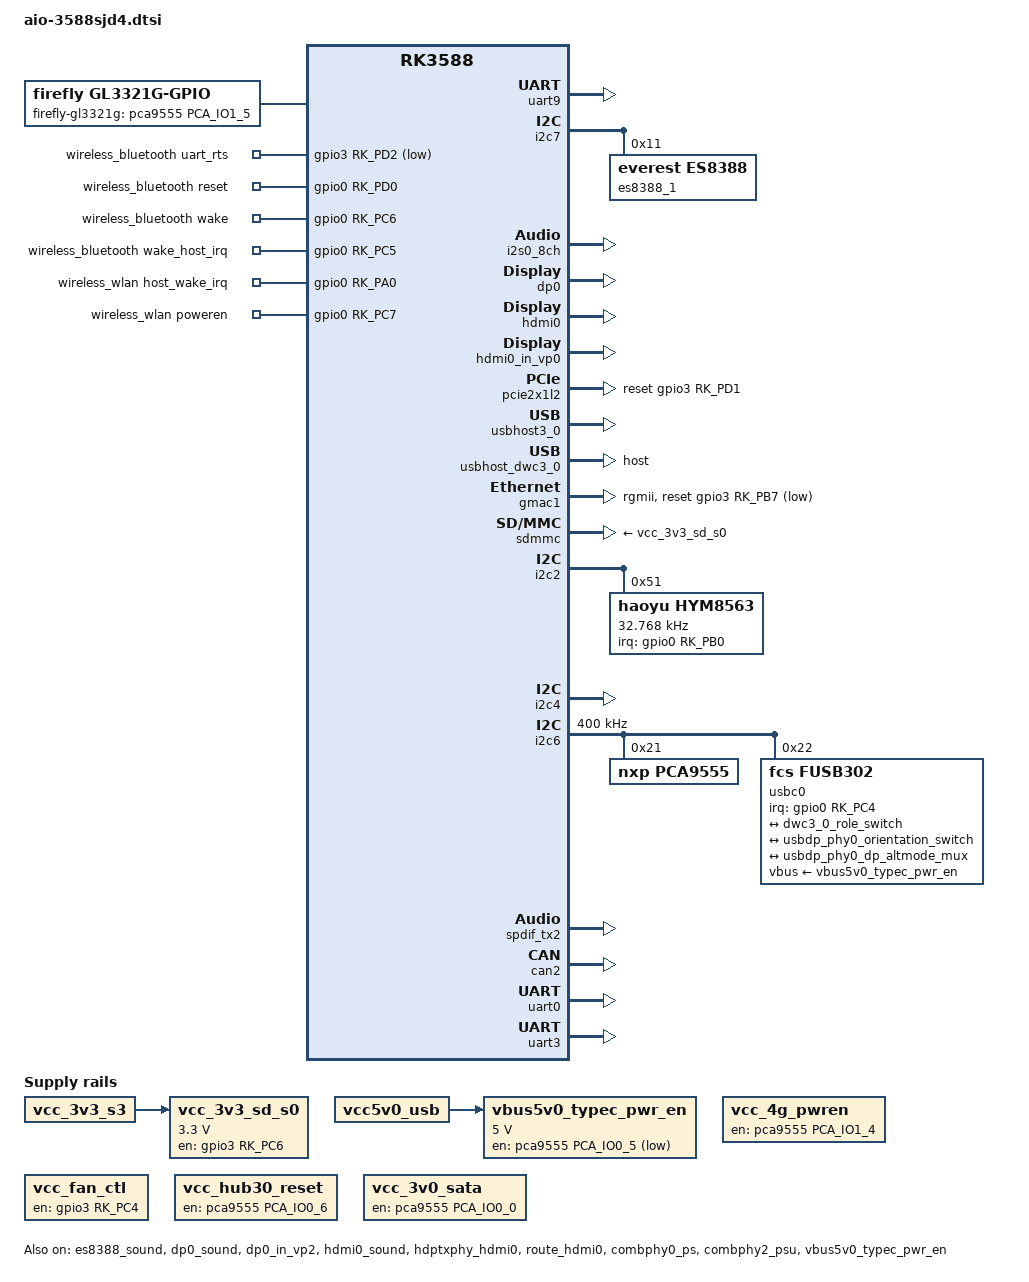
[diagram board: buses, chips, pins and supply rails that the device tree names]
// SPDX-License-Identifier: (GPL-2.0+ OR MIT)
/*
 * Copyright (c) 2021 T-chip Firefly Electronics Co., Ltd.
 *
 */

#include "rk3588-firefly-port.dtsi"

/ {
	chosen: chosen {
		bootargs = "earlycon=uart8250,mmio32,0xfeb50000 console=ttyFIQ0 irqchip.gicv3_pseudo_nmi=0 root=PARTLABEL=rootfs rootfstype=ext4 ro rootwait overlayroot=device:dev=PARTLABEL=userdata,fstype=ext4,mkfs=1 coherent_pool=1m systemd.gpt_auto=0 cgroup_enable=memory swapaccount=1 net.ifnames=0";
	};
	firefly_leds: leds {
		power_led: power {
			gpios = <&gpio1 RK_PD2 GPIO_ACTIVE_HIGH>;//blue led
			pinctrl-names = "default";
			pinctrl-0 = <&led_power>;
		};

		user_led: user {
			gpios = <&gpio1 RK_PD5 GPIO_ACTIVE_HIGH>;//red led
			pinctrl-names = "default";
			pinctrl-0 = <&led_user>;
		};
	};

        vcc_4g_pwren: vcc-4g-pwren-regulator {
                compatible = "regulator-fixed";
                regulator-name = "vcc_4g_pwren";
                regulator-always-on;
                enable-active-high;
                status = "okay";
                gpio = <&pca9555 PCA_IO1_4 GPIO_ACTIVE_HIGH>;
        };

        vcc_fan_ctl: vcc-fan-ctl-regulator {
                compatible = "regulator-fixed";
                regulator-name = "vcc_fan_ctl";
                regulator-always-on;
                enable-active-high;
                status = "okay";
                gpio = <&gpio3 RK_PC4 GPIO_ACTIVE_HIGH>;
        };

	vcc_3v3_sd_s0: vcc-3v3-sd-s0 {
		compatible = "regulator-fixed";
		regulator-name = "vcc_3v3_sd_s0";
		regulator-min-microvolt = <3300000>;
		regulator-max-microvolt = <3300000>;
		gpios = <&gpio3 RK_PC6 GPIO_ACTIVE_HIGH>;
		enable-active-high;
		vin-supply = <&vcc_3v3_s3>;
			regulator-state-mem {
			regulator-off-in-suspend;
		};
	};

        vcc_hub30_reset: vcc-hub30-reset-regulator {
                compatible = "regulator-fixed";
                regulator-name = "vcc_hub30_reset";
                regulator-boot-on;
                regulator-always-on;
                enable-active-high;
                gpio = <&pca9555 PCA_IO0_6 GPIO_ACTIVE_HIGH>;  //PCA_IO 06
        };

    vcc_3v0_sata: vcc-3v0-sata-regulator {
        compatible = "regulator-fixed";
        regulator-name = "vcc_3v0_sata";
        regulator-always-on;
        enable-active-high;
        status = "okay";
        gpio = <&pca9555 PCA_IO0_0 GPIO_ACTIVE_HIGH>;
    };


    gl3321g: gl3321g-pwr-gpio {
        compatible = "firefly,gl3321g-gpio";
        firefly-mdelay = <500>;
        firefly-gl3321g-gpio = <&pca9555 PCA_IO1_5 GPIO_ACTIVE_HIGH>;
        status = "okay";
    };


        wireless_bluetooth: wireless-bluetooth {
                compatible = "bluetooth-platdata";
                clocks = <&hym8563>;
                clock-names = "ext_clock";
                uart_rts_gpios = <&gpio3 RK_PD2 GPIO_ACTIVE_LOW>;
                pinctrl-names = "default", "rts_gpio";
                pinctrl-0 = <&uart9m2_rtsn>,  <&bt_reset_gpio>, <&bt_wake_gpio>, <&bt_irq_gpio>;
                pinctrl-1 = <&uart9_gpios>;
                BT,reset_gpio    = <&gpio0 RK_PD0 GPIO_ACTIVE_HIGH>;
                BT,wake_gpio     = <&gpio0 RK_PC6 GPIO_ACTIVE_HIGH>;
                BT,wake_host_irq = <&gpio0 RK_PC5 GPIO_ACTIVE_HIGH>;
                status = "okay";
        };

        wireless_wlan: wireless-wlan {
                compatible = "wlan-platdata";
                wifi_chip_type = "ap6275p";
                pinctrl-names = "default";
                pinctrl-0 = <&wifi_host_wake_irq>, <&wifi_poweren_gpio>;
                WIFI,host_wake_irq = <&gpio0 RK_PA0 GPIO_ACTIVE_HIGH>;
                WIFI,poweren_gpio = <&gpio0 RK_PC7 GPIO_ACTIVE_HIGH>;
                status = "okay";
        };

	firefly_wake {
		compatible = "firefly-wake";
		status = "disabled";
	};
};

&uart9 {
        pinctrl-names = "default";
        pinctrl-0 = <&uart9m2_xfer &uart9m2_ctsn>;
        status = "okay";
};

&vcc_3v3_s3 {
        regulator-state-mem {
                regulator-off-in-suspend;
        };
};

&vcc_1v8_s0 {
        regulator-state-mem {
                regulator-off-in-suspend;
        };

};


/* es8323 audio codec */
&es8388_sound {
	status = "okay";
	compatible = "firefly,multicodecs-card";
	rockchip,card-name = "rockchip-es8388";
	hp-det-gpio = <&gpio1 RK_PC0 GPIO_ACTIVE_LOW>;
	hp-con-gpio = <&gpio3 RK_PC0 GPIO_ACTIVE_HIGH>;
	io-channels = <&saradc 4>;
	io-channel-names = "adc-detect";
	spk-con-gpio = <&gpio4 RK_PA0 GPIO_ACTIVE_HIGH>;
	rockchip,cpu = <&i2s0_8ch>;
	rockchip,codec = <&es8388_1>;
	rockchip,audio-routing =
			"Headphone", "LOUT1",
			"Headphone", "ROUT1",
			"Speaker", "LOUT2",
			"Speaker", "ROUT2",
			"Headphone", "Headphone Power",
			"Headphone", "Headphone Power",
	                "Speaker", "Speaker Power",
	                "Speaker", "Speaker Power",
			"LINPUT1", "Main Mic",
			"RINPUT1", "Main Mic",
			"LINPUT2", "Headset Mic",
			"RINPUT2", "Headset Mic";
	linein-type = <2>;
	pinctrl-names = "default";
	pinctrl-0 = <&hp_det>;
	hw-ver =<0x0>;
};

&i2c7 {
        status = "okay";
        pinctrl-names = "default";
        pinctrl-0 = <&i2c7m0_xfer>;
        es8388_1: es8388_1@11 {
		status = "okay";
                #sound-dai-cells = <0>;
                compatible = "everest,es8388", "everest,es8323";
                reg = <0x11>;
                clocks = <&mclkout_i2s0>;
                clock-names = "mclk";
                assigned-clocks = <&mclkout_i2s0>;
                assigned-clock-rates = <12288000>;
                pinctrl-names = "default";
                pinctrl-0 = <&i2s0_mclk>;
        };
};

&i2s0_8ch{
	status = "okay";
};

/* display port0 */
&dp0_sound{
		status = "okay";
};

&dp0 {
	status = "okay";
};

&dp0_in_vp2 {
	status = "okay";
};

/* hdmi0 */
&hdmi0 {
	enable-gpios = <&gpio4 RK_PB6 GPIO_ACTIVE_HIGH>;
	status = "okay";
};

&hdmi0_in_vp0 {
	status = "okay";
};

&hdmi0_sound {
	status = "okay";
};

&hdptxphy_hdmi0 {
	status = "okay";
};

&route_hdmi0{
	status = "okay";
};

&display_subsystem {
	clocks = <&hdptxphy_hdmi_clk0>;
	clock-names = "hdmi0_phy_pll";
};

&hdptxphy_hdmi_clk0 {
	status = "okay";
};

/* pcie2.0 */
&combphy0_ps {
	status = "okay";
};

&pcie2x1l2 {
	reset-gpios = <&gpio3 RK_PD1 GPIO_ACTIVE_HIGH>;
	rockchip,skip-scan-in-resume;
	status = "okay";
};

/* usb3.0 */
&combphy2_psu {
	status = "okay";
};

&usbhost3_0 {
	status = "okay";
};

&usbhost_dwc3_0 {
	status = "okay";
	dr_mode = "host";
};

&usbdrd_dwc3_0 {
	snps,parkmode-disable-ss-quirk;
};

&vcc5v0_host {
	status = "okay";
 	/delete-property/ regulator-boot-on;
	gpio = <&pca9555 PCA_IO0_1 GPIO_ACTIVE_HIGH>;
	/delete-property/ pinctrl-names;
	/delete-property/ pinctrl-0;
};

/* usb2.0 hub */
&vcc_hub_reset {
	status = "okay";
	gpio = <&pca9555 PCA_IO0_7 GPIO_ACTIVE_HIGH>;
};


/* typec0 */
&vbus5v0_typec_pwr_en {
		status = "okay";
		regulator-min-microvolt = <5000000>;
		regulator-max-microvolt = <5000000>;
		gpio = <&pca9555 PCA_IO0_5 GPIO_ACTIVE_HIGH>;

		vin-supply = <&vcc5v0_usb>;
		/delete-property/ pinctrl-names;
		/delete-property/ pinctrl-0;
};

&gmac1{
 	snps,reset-gpio = <&gpio3 RK_PB7 GPIO_ACTIVE_LOW>;
	phy-mode = "rgmii";
	tx_delay = <0x3B>;
	rx_delay = <0x32>;
	status = "okay";
};

/* PMIC spi2 */
&spi2 {
	pinctrl-names = "default";
	pinctrl-0 = <&spi2m2_cs0 &spi2m2_pins>;
	num-cs = <1>;
};

&sdmmc {
	status = "okay";
	vmmc-supply = <&vcc_3v3_sd_s0>;
};

&i2c2 {
	status = "okay";
	pinctrl-names = "default";
	pinctrl-0 = <&i2c2m0_xfer>;

	hym8563: hym8563@51 {
		compatible = "haoyu,hym8563";
		reg = <0x51>;
		#clock-cells = <0>;
		clock-frequency = <32768>;
		clock-output-names = "hym8563";
		pinctrl-names = "default";
		pinctrl-0 = <&hym8563_int>;
		interrupt-parent = <&gpio0>;
		interrupts = <RK_PB0 IRQ_TYPE_LEVEL_LOW>;
		wakeup-source;
		status = "okay";
	};
};

&i2c4 {
	status = "okay";
	pinctrl-names = "default";
	pinctrl-0 = <&i2c4m3_xfer>;
};

&i2c6 {
	status = "okay";
	clock-frequency = <400000>;
   	pinctrl-names = "default";
	pinctrl-0 = <&i2c6m3_xfer>;

	pca9555: gpio@21 {
		status = "okay";
		compatible = "nxp,pca9555";
		//suspend-io-state = <0xc0>;
		//resume-io-state = <0x38c3>;
		//hold-io-state = <0x1000>;
		reg = <0x21>;
		gpio-controller;
		#gpio-cells = <2>;
		gpio-group-num = <200>;
       };


	usbc0: fusb302@22 {
		compatible = "fcs,fusb302";
		reg = <0x22>;
		interrupt-parent = <&gpio0>;
		interrupts = <RK_PC4 IRQ_TYPE_LEVEL_LOW>;
		pinctrl-names = "default";
		pinctrl-0 = <&usbc0_int>;
		vbus-supply = <&vbus5v0_typec_pwr_en>;
		suspend-disable-irq;
		status = "okay";

		ports {
			#address-cells = <1>;
			#size-cells = <0>;

			port@0 {
				reg = <0>;
				usbc0_role_sw: endpoint@0 {
					remote-endpoint = <&dwc3_0_role_switch>;
				};
			};
		};

		usb_con: connector {
			compatible = "usb-c-connector";
			label = "USB-C";
			data-role = "dual";
			power-role = "dual";
			try-power-role = "sink";
			op-sink-microwatt = <1000000>;
			sink-pdos =
				<PDO_FIXED(5000, 1000, PDO_FIXED_USB_COMM)>;
			source-pdos =
				<PDO_FIXED(5000, 3000, PDO_FIXED_USB_COMM)>;

			altmodes {
				#address-cells = <1>;
				#size-cells = <0>;

				altmode@0 {
					reg = <0>;
					svid = <0xff01>;
					vdo = <0xffffffff>;
				};
			};

			ports {
				#address-cells = <1>;
				#size-cells = <0>;

				port@0 {
					reg = <0>;
					usbc0_orien_sw: endpoint {
						remote-endpoint = <&usbdp_phy0_orientation_switch>;
					};
				};

				port@1 {
					reg = <1>;
					dp_altmode_mux: endpoint {
						remote-endpoint = <&usbdp_phy0_dp_altmode_mux>;
					};
				};
			};
		};
	};

};

&usbdp_phy0 {
	sbu1-dc-gpios = <&pca9555 PCA_IO0_3 GPIO_ACTIVE_HIGH>;
	sbu2-dc-gpios = <&pca9555 PCA_IO0_4 GPIO_ACTIVE_HIGH>;
};

//for dp
&spdif_tx2 {
	status = "okay";
};

&can2 {
    status = "okay";
    pinctrl-names = "default";
    pinctrl-0 = <&can2m1_pins>;
};

&uart0 {
    status = "okay";
    pinctrl-names = "default";
    pinctrl-0 = <&uart0m2_xfer>;
};

&uart3 {
    status = "okay";
    pinctrl-names = "default";
    pinctrl-0 = <&uart3m2_xfer>;
};

&pinctrl {
	leds {
		led_user: led-user {
			rockchip,pins = <1 RK_PD5 RK_FUNC_GPIO &pcfg_pull_none>;
		};
		led_power: led-power {
			rockchip,pins = <1 RK_PD2 RK_FUNC_GPIO &pcfg_pull_none>;
		};
	};

	headphone {
		hp_det: hp-det {
			rockchip,pins = <1 RK_PC0 RK_FUNC_GPIO &pcfg_pull_none>;
		};
	};

	hym8563 {
		hym8563_int: hym8563-int {
			rockchip,pins = <0 RK_PB0 RK_FUNC_GPIO &pcfg_pull_up>;
		};
	};

	usb-typec {
		usbc0_int: usbc0-int {
			rockchip,pins = <0 RK_PC4 RK_FUNC_GPIO &pcfg_pull_up>;
		};

	};

        wireless-bluetooth {
                uart9_gpios: uart9-gpios {
                        rockchip,pins = <3 RK_PD2 RK_FUNC_GPIO &pcfg_pull_none>;
                };

                bt_reset_gpio: bt-reset-gpio {
                        rockchip,pins = <0 RK_PD0 RK_FUNC_GPIO &pcfg_pull_none>;
                };

                bt_wake_gpio: bt-wake-gpio {
                        rockchip,pins = <0 RK_PC6 RK_FUNC_GPIO &pcfg_pull_none>;
                };

                bt_irq_gpio: bt-irq-gpio {
                        rockchip,pins = <0 RK_PC5 RK_FUNC_GPIO &pcfg_pull_down>;
                };
        };

        wireless-wlan {
                wifi_host_wake_irq: wifi-host-wake-irq {
                        rockchip,pins = <0 RK_PA0 RK_FUNC_GPIO &pcfg_pull_down>;
                };

                wifi_poweren_gpio: wifi-poweren-gpio {
                        rockchip,pins = <0 RK_PC7 RK_FUNC_GPIO &pcfg_pull_up>;
                };
        };
};
